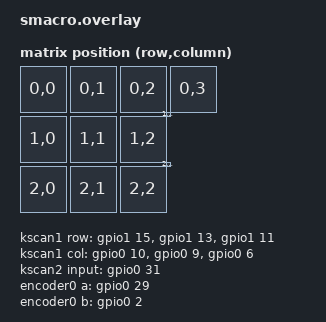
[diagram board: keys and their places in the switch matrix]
#include <dt-bindings/zmk/matrix_transform.h>
#include <physical_layouts.dtsi>

/ {
    chosen {
        zmk,kscan = &kscan0;
        zmk,battery = &vbatt;
        zmk,physical-layout = &default_layout;
    };

    default_layout: default_layout {
        compatible = "zmk,physical-layout";
        display-name = "Default";
        transform = <&transform0>;
        kscan = <&kscan0>;
        keys  //                     w   h    x    y     rot    rx    ry
            = <&key_physical_attrs 100 100    0    0       0     0     0>
            , <&key_physical_attrs 100 100  100    0       0     0     0>
            , <&key_physical_attrs 100 100  200    0       0     0     0>
            , <&key_physical_attrs 100 100  300    0       0     0     0>
            , <&key_physical_attrs 100 100    0  100       0     0     0>
            , <&key_physical_attrs 100 100  100  100       0     0     0>
            , <&key_physical_attrs 100 100  200  100       0     0     0>
            , <&key_physical_attrs 0   0    300  100       0     0     0>
            , <&key_physical_attrs 100 100    0  200       0     0     0>
            , <&key_physical_attrs 100 100  100  200       0     0     0>
            , <&key_physical_attrs 100 100  200  200       0     0     0>
            , <&key_physical_attrs 0   0    300  200       0     0     0>
            ;
    };

    transform0: keymap_transform {
        compatible = "zmk,matrix-transform";

        rows = <3>;
        columns = <4>;

        map = <RC(0,0) RC(0,1) RC(0,2)  RC(0,3)
               RC(1,0) RC(1,1) RC(1,2)  RC(1,3)
               RC(2,0) RC(2,1) RC(2,2)  RC(2,3)
        >;
    };

    kscan0: kscan0 {
        compatible = "zmk,kscan-composite";
        wakeup-source;
        rows = <3>;
        columns = <4>;

        matrix {
            kscan = <&kscan1>;
        };
    
        encoder {
            kscan = <&kscan2>;
            col-offset = <3>;
        };
    };

    kscan1: kscan1 {
        compatible = "zmk,kscan-gpio-matrix";
        wakeup-source;
        diode-direction = "col2row";

        row-gpios
            = <&gpio1 15 (GPIO_ACTIVE_HIGH | GPIO_PULL_DOWN)>
            , <&gpio1 13 (GPIO_ACTIVE_HIGH | GPIO_PULL_DOWN)>
            , <&gpio1 11 (GPIO_ACTIVE_HIGH | GPIO_PULL_DOWN)>
            ;
        col-gpios
            = <&gpio0 10 (GPIO_ACTIVE_HIGH)>
            , <&gpio0 9 (GPIO_ACTIVE_HIGH)>
            , <&gpio0 6 (GPIO_ACTIVE_HIGH)>
            ;
    };

    kscan2: kscan2 {
        compatible = "zmk,kscan-gpio-direct";
        wakeup-source;
    
        input-gpios
        = <&gpio0 31 (GPIO_ACTIVE_LOW | GPIO_PULL_UP)>
        ;
    };

    encoder0: encoder0 {
        compatible = "alps,ec11";
        a-gpios = <&gpio0 29 (GPIO_ACTIVE_HIGH | GPIO_PULL_UP)>;
        b-gpios = <&gpio0 2 (GPIO_ACTIVE_HIGH | GPIO_PULL_UP)>;
        steps = <80>;
        status = "okay";
    };

    sensors0: sensors {
        compatible = "zmk,keymap-sensors";
        sensors = <&encoder0>;
        triggers-per-rotation = <20>;
    };

};
